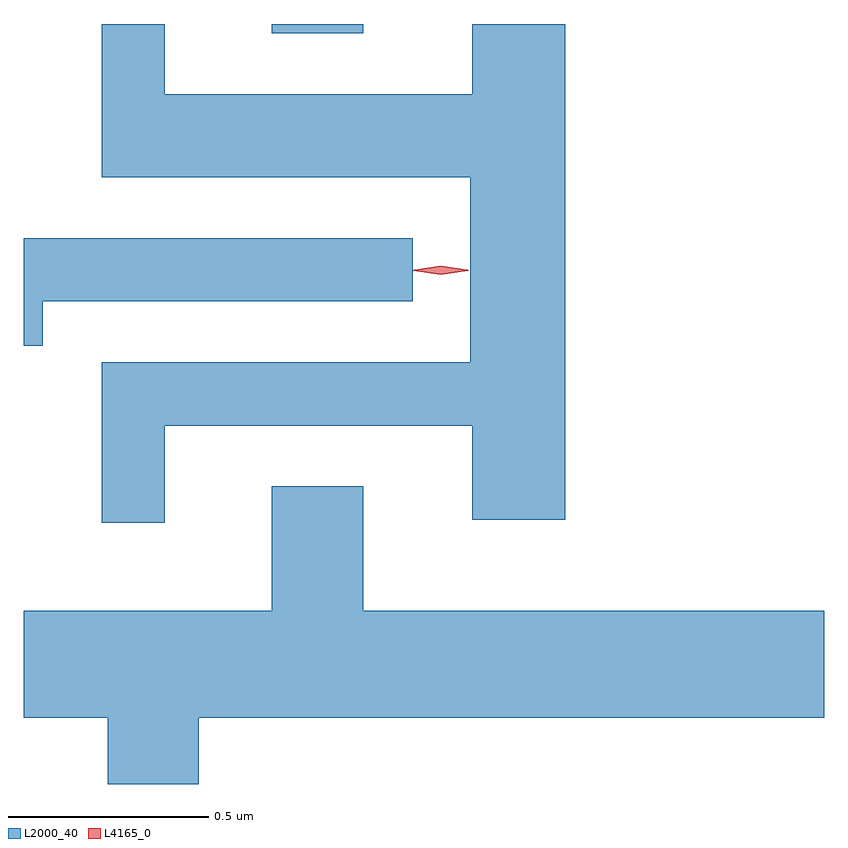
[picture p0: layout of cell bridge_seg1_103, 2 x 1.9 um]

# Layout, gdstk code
import gdstk
lib = gdstk.Library(unit=1e-6, precision=1e-09)
def R(c, l, rs):  # rectangles x0, y0, x1, y1
    for r in rs: c.add(gdstk.rectangle(r[:2], r[2:], *l))
def P(c, l, *ps):  # polygons
    for p in ps: c.add(gdstk.Polygon(p, *l))
L2000_40 = (2000, 40)
L4165_0 = (4165, 0)

bridge_seg1_103 = lib.new_cell('bridge_seg1_103')
R(bridge_seg1_103, L2000_40, [(1201.551,972.326,1201.779,972.349)])
P(bridge_seg1_103, L2000_40, [(1201.284,971.346),(1202.051,971.346),(1202.051,971.111),(1202.284,971.111),(1202.284,972.349),(1202.051,972.349),(1202.051,972.174),(1201.284,972.174),(1201.284,972.349),(1201.126,972.349),(1201.126,971.966),(1202.046,971.966),(1202.046,971.504),(1201.126,971.504),(1201.126,971.103),(1201.284,971.103)],
  [(1200.979,971.656),(1201.903,971.656),(1201.903,971.814),(1200.931,971.814),(1200.931,971.546),(1200.979,971.546)],
  [(1201.369,970.616),(1202.931,970.616),(1202.931,970.884),(1201.779,970.884),(1201.779,971.194),(1201.551,971.194),(1201.551,970.884),(1200.931,970.884),(1200.931,970.616),(1201.141,970.616),(1201.141,970.451),(1201.369,970.451)])
P(bridge_seg1_103, L4165_0, [(1201.973,971.723),(1201.904,971.733),(1201.904,971.733),(1201.904,971.734),(1201.973,971.743),(1202.042,971.734),(1202.043,971.733),(1202.042,971.733)],
  [(1201.973,971.725),(1201.908,971.734),(1201.907,971.735),(1201.908,971.735),(1201.973,971.745),(1202.039,971.735),(1202.04,971.735),(1202.039,971.734)])

lib.write_gds('bridge_seg1_103.gds')
